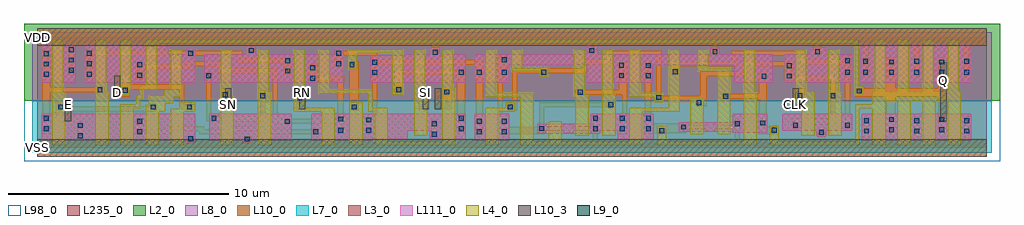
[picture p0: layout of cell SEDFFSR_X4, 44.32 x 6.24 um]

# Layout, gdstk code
import gdstk
lib = gdstk.Library(unit=1e-6, precision=1e-09)
def R(c, l, rs):  # rectangles x0, y0, x1, y1
    for r in rs: c.add(gdstk.rectangle(r[:2], r[2:], *l))
def A(c, l, x, y, w, h, nx, ny, dx, dy):  # array of equal rectangles
    R(c, l, [(x+i*dx, y+j*dy, x+i*dx+w, y+j*dy+h) for i in range(nx) for j in range(ny)])
def P(c, l, *ps):  # polygons
    for p in ps: c.add(gdstk.Polygon(p, *l))
L2_0 = (2, 0)
L3_0 = (3, 0)
L4_0 = (4, 0)
L7_0 = (7, 0)
L8_0 = (8, 0)
L9_0 = (9, 0)
L10_0 = (10, 0)
L10_3 = (10, 3)
L98_0 = (98, 0)
L111_0 = (111, 0)
L235_0 = (235, 0)

sedffsr_x4 = lib.new_cell('SEDFFSR_X4')
R(sedffsr_x4, L2_0, [(-0.6,2.155,43.72,5.64)])
R(sedffsr_x4, L3_0, [(9.33,0.2,9.75,0.62), (7.815,0.345,11.56,1.555), (19.865,0.345,21.425,1.555), (37.445,0.345,42.425,1.555), (11.14,0.995,11.56,1.415), (7.815,1.135,8.235,1.555), (7.815,1.135,8.235,1.555), (0.2,2.955,1.76,4.695), (7.58,2.955,13.9,4.265), (37.405,2.955,42.425,4.695), (7.58,3.075,8,3.495), (13.48,3.615,13.9,4.035), (6.76,4.085,7.18,4.505), (13.48,4.085,13.9,4.505), (9.505,4.215,9.925,4.635)])
P(sedffsr_x4, L3_0, [(7.18,4.265),(5.96,4.265),(5.96,4.635),(4.82,4.635),(4.82,4.695),(2.16,4.695),(2.16,2.955),(7.18,2.955)],
  [(23.8,4.265),(19.865,4.265),(19.865,2.955),(21.425,2.955),(21.425,3.765),(23.8,3.765)],
  [(19.465,1.555),(12.435,1.555),(12.435,0.345),(15.22,0.345),(15.22,0.405),(16.82,0.405),(16.82,0.775),(17.815,0.775),(17.815,0.405),(19.465,0.405)],
  [(28,1.555),(25.14,1.555),(25.14,0.995),(24.34,0.995),(24.34,1.095),(23.92,1.095),(23.92,0.995),(23.12,0.995),(23.12,1.095),(22.7,1.095),(22.7,0.675),(23.12,0.675),(23.12,0.775),(23.92,0.775),(23.92,0.675),(24.34,0.675),(24.34,0.775),(25.14,0.775),(25.14,0.65),(25.56,0.65),(25.56,0.775),(26.36,0.775),(26.36,0.405),(28,0.405)],
  [(33.155,1.555),(31.58,1.555),(31.58,1.065),(30.78,1.065),(30.78,1.165),(30.36,1.165),(30.36,1.065),(29.56,1.065),(29.56,1.165),(29.14,1.165),(29.14,0.745),(29.56,0.745),(29.56,0.845),(30.36,0.845),(30.36,0.745),(30.78,0.745),(30.78,0.845),(31.58,0.845),(31.58,0.695),(33.155,0.695)],
  [(7.18,1.555),(0.2,1.555),(0.2,0.345),(6.76,0.345),(6.76,0.2),(7.18,0.2)],
  [(19.465,4.265),(18.285,4.265),(18.285,4.565),(17.865,4.565),(17.865,4.265),(16.725,4.265),(16.725,4.205),(15.125,4.205),(15.125,2.955),(19.465,2.955)],
  [(37.005,4.265),(35.825,4.265),(35.825,4.585),(35.125,4.585),(35.125,4.265),(33.945,4.265),(33.945,2.955),(37.005,2.955)],
  [(33.405,4.265),(30.985,4.265),(30.985,4.585),(30.565,4.585),(30.565,4.265),(25.45,4.265),(25.45,4.635),(24.965,4.635),(24.965,4.265),(23.785,4.265),(23.785,3.765),(24.965,3.765),(24.965,2.955),(27.96,2.955),(27.96,3.765),(31.655,3.765),(31.655,2.955),(33.405,2.955)],
  [(37.005,1.555),(33.825,1.555),(33.825,0.775),(35.405,0.775),(35.405,0.51),(35.825,0.51),(35.825,0.775),(37.005,0.775)])
R(sedffsr_x4, L4_0, [(8.335,0.125,8.935,2.32), (14.18,0.125,14.78,2.075), (29.66,0.625,30.26,2.265), (10.025,2.155,10.445,2.575), (37.925,2.155,41.945,2.575), (8.335,2.195,8.835,4.485), (8.335,2.215,8.755,2.635), (37.115,2.375,37.535,2.795)])
P(sedffsr_x4, L4_0, [(4.28,4.915),(3.78,4.915),(3.78,2.42),(4.2,2.42),(4.2,2.655),(4.28,2.655)],
  [(6.56,4.485),(6.06,4.485),(6.06,2.655),(5.77,2.655),(5.77,2.405),(5.545,2.405),(5.545,2.025),(6.21,2.025),(6.21,2.325),(6.56,2.325)],
  [(4.81,2.655),(5.155,2.655),(5.155,2.855),(4.63,2.855),(4.63,2.405),(4.49,2.405),(4.49,1.995),(3.78,1.995),(3.78,0.125),(4.38,0.125),(4.38,1.815),(4.67,1.815),(4.67,2.225),(4.81,2.225)],
  [(15.21,2.64),(13.28,2.64),(13.28,4.485),(12.78,4.485),(12.78,2.46),(15.21,2.46)],
  [(37.33,0.305),(33.675,0.305),(33.675,1.01),(33.255,1.01),(33.255,0.125),(37.33,0.125)],
  [(38.525,4.915),(38.025,4.915),(38.025,2.575),(37.925,2.575),(37.925,0.125),(38.525,0.125)],
  [(26.26,2.52),(26.16,2.52),(26.16,4.485),(25.66,4.485),(25.66,0.555),(26.26,0.555)],
  [(39.665,2.575),(39.565,2.575),(39.565,4.915),(39.065,4.915),(39.065,0.125),(39.665,0.125)],
  [(40.805,2.575),(40.705,2.575),(40.705,4.915),(40.205,4.915),(40.205,0.125),(40.805,0.125)],
  [(5.81,2.405),(5.06,2.405),(5.06,1.975),(4.92,1.975),(4.92,0.125),(5.52,0.125),(5.52,1.655),(5.81,1.655)],
  [(1.28,2.52),(1.18,2.52),(1.18,4.915),(0.68,4.915),(0.68,0.125),(1.28,0.125)],
  [(35.305,2.575),(34.925,2.575),(34.925,4.485),(34.425,4.485),(34.425,2.155),(34.705,2.155),(34.705,0.555),(35.305,0.555)],
  [(36.525,2.52),(36.425,2.52),(36.425,4.485),(35.925,4.485),(35.925,0.555),(36.525,0.555)],
  [(31.48,3.655),(30.465,3.655),(30.465,4.485),(29.965,4.485),(29.965,3.475),(30.88,3.475),(30.88,0.625),(31.48,0.625)],
  [(29.18,4.485),(28.68,4.485),(28.68,1.835),(26.88,1.835),(26.88,0.305),(23.82,0.305),(23.82,1.215),(23.22,1.215),(23.22,0.305),(22.545,0.305),(22.545,2.505),(20.845,2.505),(20.845,4.485),(20.345,4.485),(20.345,2.325),(21.945,2.325),(21.945,0.125),(27.48,0.125),(27.48,1.655),(29.18,1.655)],
  [(28.43,2.505),(27.38,2.505),(27.38,4.485),(26.88,4.485),(26.88,2.325),(28.01,2.325),(28.01,2.085),(28.43,2.085)],
  [(32.675,2.52),(32.575,2.52),(32.575,4.485),(32.075,4.485),(32.075,0.305),(28.57,0.305),(28.57,1),(28.15,1),(28.15,0.125),(32.675,0.125)],
  [(25.04,2.41),(24.865,2.41),(24.865,4.485),(24.365,4.485),(24.365,2.32),(24.44,2.32),(24.44,0.555),(25.04,0.555)],
  [(23.215,3.665),(22.025,3.665),(22.025,4.485),(21.525,4.485),(21.525,3.485),(22.795,3.485),(22.795,3.235),(23.215,3.235)],
  [(21.695,2.075),(21.275,2.075),(21.275,1.835),(20.345,1.835),(20.345,0.125),(20.945,0.125),(20.945,1.655),(21.695,1.655)],
  [(18.985,2.715),(18.885,2.715),(18.885,4.485),(18.385,4.485),(18.385,0.305),(15.92,0.305),(15.92,1.775),(15.32,1.775),(15.32,0.125),(18.985,0.125)],
  [(16.625,4.485),(14.085,4.485),(14.085,3.57),(14.505,3.57),(14.505,4.305),(16.125,4.305),(16.125,2.41),(16.625,2.41)],
  [(13.515,1.835),(12.14,1.835),(12.14,4.485),(11.64,4.485),(11.64,1.655),(12.915,1.655),(12.915,0.125),(13.515,0.125)],
  [(17.715,2.71),(17.615,2.71),(17.615,4.485),(17.115,4.485),(17.115,0.555),(17.715,0.555)],
  [(7.185,2.075),(6.46,2.075),(6.46,1.775),(6.06,1.775),(6.06,0.125),(6.66,0.125),(6.66,1.655),(7.185,1.655)],
  [(10.625,2.52),(10.525,2.52),(10.525,4.485),(10.025,4.485),(10.025,0.125),(10.625,0.125)],
  [(37.295,4.915),(4.92,4.915),(4.92,2.655),(5.42,2.655),(5.42,4.735),(37.115,4.735),(37.115,2.375),(37.295,2.375)],
  [(3.24,2.52),(3.14,2.52),(3.14,4.915),(2.64,4.915),(2.64,0.125),(3.24,0.125)],
  [(41.945,2.575),(41.845,2.575),(41.845,4.915),(41.345,4.915),(41.345,0.125),(41.945,0.125)])
R(sedffsr_x4, L7_0, [(-0.22,-0.22,43.34,2.155)])
R(sedffsr_x4, L8_0, [(-0.22,2.155,43.34,5.26)])
A(sedffsr_x4, L9_0, 37.545, 0.66, 0.22, 0.22, 3, 2, 2.28, 0.47)
A(sedffsr_x4, L9_0, 0.3, 3.235, 0.22, 0.22, 1, 3, 0, 0.47)
A(sedffsr_x4, L9_0, 2.26, 3.245, 0.22, 0.22, 1, 3, 0, 0.47)
A(sedffsr_x4, L9_0, 38.685, 3.325, 0.22, 0.22, 4, 1, 1.14, 0)
A(sedffsr_x4, L9_0, 1.44, 3.415, 0.22, 0.22, 1, 3, 0, 0.47)
R(sedffsr_x4, L9_0, [(9.43,0.3,9.65,0.52), (6.86,0.31,7.08,0.53), (1.85,0.445,2.07,0.665), (17.915,0.52,18.135,0.74), (35.505,0.61,35.725,0.83), (4.54,0.635,4.76,0.855), (12.535,0.635,12.755,0.855), (19.965,0.635,20.185,0.855), (21.105,0.635,21.325,0.855), (28.25,0.68,28.47,0.9), (13.675,0.69,13.895,0.91), (14.94,0.69,15.16,0.91), (33.355,0.69,33.575,0.91), (38.685,0.715,38.905,0.935), (40.965,0.715,41.185,0.935), (0.3,0.765,0.52,0.985), (19.145,0.765,19.365,0.985), (25.24,0.765,25.46,0.985), (26.46,0.765,26.68,0.985), (27.645,0.765,27.865,0.985), (22.8,0.775,23.02,0.995), (29.24,0.845,29.46,1.065), (1.85,0.915,2.07,1.135), (34.325,0.925,34.545,1.145), (36.685,0.925,36.905,1.145), (31.68,0.985,31.9,1.205), (17.915,0.99,18.135,1.21), (32.835,1.025,33.055,1.245), (11.24,1.095,11.46,1.315), (4.54,1.105,4.76,1.325), (19.965,1.105,20.185,1.325), (21.105,1.105,21.325,1.325), (14.94,1.16,15.16,1.38), (38.685,1.185,38.905,1.405), (40.965,1.185,41.185,1.405), (13.675,1.205,13.895,1.425), (0.3,1.235,0.52,1.455), (7.915,1.235,8.135,1.455), (19.145,1.235,19.365,1.455), (25.24,1.235,25.46,1.455), (26.46,1.235,26.68,1.455), (27.645,1.235,27.865,1.455), (0.96,1.755,1.18,1.975), (5.16,1.755,5.38,1.975), (6.805,1.755,7.025,1.975), (14.28,1.755,14.5,1.975), (21.375,1.755,21.595,1.975), (25.94,1.86,26.16,2.08), (29.94,1.945,30.16,2.165), (11.82,2.17,12.04,2.39), (28.11,2.185,28.33,2.405), (31.16,2.245,31.38,2.465), (10.125,2.255,10.345,2.475), (17.395,2.255,17.615,2.475), (34.525,2.255,34.745,2.475), (36.025,2.255,36.245,2.475), (8.435,2.315,8.655,2.535), (24.545,2.42,24.765,2.64), (18.485,2.43,18.705,2.65), (37.215,2.475,37.435,2.695), (3.88,2.52,4.1,2.74), (2.74,2.535,2.96,2.755), (16.305,2.535,16.525,2.755), (12.4,3.055,12.62,3.275), (32.895,3.155,33.115,3.375), (34.045,3.16,34.265,3.38), (27.64,3.165,27.86,3.385), (7.68,3.175,7.9,3.395), (26.42,3.18,26.64,3.4), (4.54,3.2,4.76,3.42), (15.225,3.315,15.445,3.535), (19.145,3.325,19.365,3.545), (19.965,3.325,20.185,3.545), (21.105,3.325,21.325,3.545), (36.685,3.325,36.905,3.545), (37.505,3.325,37.725,3.545), (22.895,3.335,23.115,3.555), (28.86,3.345,29.08,3.565), (11.26,3.385,11.48,3.605), (12.4,3.535,12.62,3.755), (34.045,3.63,34.265,3.85), (27.64,3.635,27.86,3.855), (26.42,3.65,26.64,3.87), (4.54,3.67,4.76,3.89), (14.185,3.67,14.405,3.89), (13.58,3.715,13.8,3.935), (15.225,3.785,15.445,4.005), (38.685,3.795,38.905,4.015), (40.965,3.795,41.185,4.015), (37.505,3.835,37.725,4.055), (39.825,3.835,40.045,4.055), (42.105,3.835,42.325,4.055), (36.685,3.85,36.905,4.07), (11.26,3.855,11.48,4.075), (21.105,3.905,21.325,4.125), (6.86,4.185,7.08,4.405), (13.58,4.185,13.8,4.405), (17.965,4.245,18.185,4.465), (30.665,4.265,30.885,4.485), (35.325,4.265,35.545,4.485), (9.605,4.315,9.825,4.535), (25.075,4.315,25.295,4.535)])
R(sedffsr_x4, L10_0, [(9.425,0.295,9.655,0.525), (41.015,0.7,41.3,4.1), (38.525,0.71,38.995,4.12), (11.235,1.09,11.465,1.32), (0.84,1.21,1.54,2.15), (7.675,1.225,10.35,1.455), (7.855,1.23,8.195,1.46), (14.18,1.695,14.595,3.95), (8.375,1.77,8.82,2.71), (11.735,1.77,12.18,2.71), (17.315,1.77,17.78,2.71), (18.06,1.77,18.805,2.71), (34.3,1.77,34.835,2.71), (10.12,2.25,10.35,2.48), (8.375,2.31,8.715,2.54), (3.5,2.33,4.2,3.27), (37.155,2.33,41.245,2.71), (18.425,2.37,18.73,2.71), (37.155,2.47,37.495,2.7), (7.675,3.115,7.905,3.455), (2.2,3.165,2.56,4.41), (1.435,3.315,1.665,5.04), (13.48,3.71,13.9,4.41), (13.575,3.71,13.805,3.94), (6.8,4.18,7.14,4.41), (13.575,4.18,13.805,4.41), (9.6,4.31,9.83,4.54)])
P(sedffsr_x4, L10_0, [(26.26,2.085),(22.795,2.085),(22.795,0.965),(21.385,0.965),(21.385,1.4),(21.14,1.4),(21.14,3.225),(21.33,3.225),(21.33,4.265),(20.91,4.265),(20.91,0.63),(23.025,0.63),(23.025,1.855),(26.26,1.855)],
  [(7.15,1.98),(6.675,1.98),(6.675,2.885),(4.2,2.885),(4.2,3.065),(3.78,3.065),(3.78,2.655),(6.445,2.655),(6.445,1.75),(7.15,1.75)],
  [(13.915,3.265),(12.715,3.265),(12.715,3.83),(12.34,3.83),(12.34,3.035),(13.615,3.035),(13.615,1.32),(10.925,1.32),(10.925,3.62),(8.435,3.62),(8.435,3.95),(6.705,3.95),(6.705,3.81),(4.85,3.81),(4.85,3.95),(4.48,3.95),(4.48,3.115),(4.85,3.115),(4.85,3.58),(6.935,3.58),(6.935,3.72),(8.205,3.72),(8.205,3.39),(10.695,3.39),(10.695,1.09),(13.615,1.09),(13.615,0.63),(13.915,0.63)],
  [(11.54,4.08),(9.315,4.08),(9.315,4.41),(2.2,4.41),(2.2,4.18),(9.085,4.18),(9.085,3.85),(11.19,3.85),(11.19,3.335),(11.54,3.335)],
  [(36.91,4.215),(36.68,4.215),(36.68,4.03),(34.865,4.03),(34.865,4.41),(31.54,4.41),(31.54,3.95),(28.78,3.95),(28.78,3.34),(29.15,3.34),(29.15,3.72),(31.77,3.72),(31.77,4.18),(34.635,4.18),(34.635,3.8),(36.68,3.8),(36.68,0.865),(36.91,0.865)],
  [(20.245,4.01),(15.45,4.01),(15.45,4.41),(13.48,4.41),(13.48,4.18),(15.22,4.18),(15.22,1.4),(14.835,1.4),(14.835,0.63),(15.45,0.63),(15.45,3.78),(19.905,3.78),(19.905,0.63),(20.245,0.63)],
  [(36.25,3.31),(34.325,3.31),(34.325,3.95),(32,3.95),(32,3.49),(30.115,3.49),(30.115,2.375),(28.335,2.375),(28.335,4.41),(25.82,4.41),(25.82,4.025),(24.76,4.025),(24.76,3.615),(21.56,3.615),(21.56,2.035),(21.37,2.035),(21.37,1.695),(21.79,1.695),(21.79,3.385),(22.89,3.385),(22.89,3.275),(23.12,3.275),(23.12,3.385),(24.99,3.385),(24.99,3.795),(26.05,3.795),(26.05,4.18),(28.105,4.18),(28.105,2.125),(29.935,2.125),(29.935,1.885),(30.405,1.885),(30.405,3.26),(32.23,3.26),(32.23,3.72),(33.925,3.72),(33.925,3.08),(36.02,3.08),(36.02,1.34),(34.32,1.34),(34.32,0.865),(34.55,0.865),(34.55,1.07),(36.25,1.07)],
  [(3.045,2.76),(0.6,2.76),(0.6,4.41),(0.23,4.41),(0.23,0.65),(0.6,0.65),(0.6,2.53),(3.045,2.53)],
  [(26.79,3.95),(26.415,3.95),(26.415,2.645),(24.435,2.645),(24.435,2.415),(26.56,2.415),(26.56,1.555),(26.455,1.555),(26.455,0.63),(26.79,0.63)],
  [(29.465,1.125),(27.875,1.125),(27.875,3.95),(27.595,3.95),(27.595,0.675),(29.465,0.675)],
  [(33.58,0.97),(33.12,0.97),(33.12,3.445),(32.76,3.445),(32.76,2.47),(31.1,2.47),(31.1,2.24),(32.76,2.24),(32.76,0.63),(33.58,0.63)],
  [(19.445,3.55),(16.22,3.55),(16.22,2.52),(16.625,2.52),(16.625,3.32),(19.045,3.32),(19.045,0.7),(19.445,0.7)],
  [(12.815,0.86),(10.26,0.86),(10.26,0.985),(8.905,0.985),(8.905,0.755),(10.03,0.755),(10.03,0.63),(12.815,0.63)],
  [(43.12,5.44),(0,5.44),(0,4.64),(9.545,4.64),(9.545,4.31),(9.885,4.31),(9.885,4.64),(17.905,4.64),(17.905,4.24),(18.245,4.24),(18.245,4.64),(25.07,4.64),(25.07,4.255),(25.3,4.255),(25.3,4.64),(30.66,4.64),(30.66,4.205),(30.89,4.205),(30.89,4.64),(35.265,4.64),(35.265,4.26),(35.605,4.26),(35.605,4.64),(37.5,4.64),(37.5,3.225),(37.73,3.225),(37.73,4.64),(43.12,4.64)],
  [(43.12,0.4),(37.77,0.4),(37.77,1.455),(37.54,1.455),(37.54,0.4),(35.785,0.4),(35.785,0.835),(35.445,0.835),(35.445,0.4),(31.905,0.4),(31.905,1.32),(31.675,1.32),(31.675,0.4),(25.465,0.4),(25.465,1.555),(25.235,1.555),(25.235,0.4),(18.14,0.4),(18.14,1.285),(17.91,1.285),(17.91,0.4),(7.14,0.4),(7.14,0.535),(6.8,0.535),(6.8,0.4),(2.075,0.4),(2.075,1.245),(1.845,1.245),(1.845,0.4),(0,0.4),(0,-0.4),(43.12,-0.4)],
  [(7.595,0.995),(5.91,0.995),(5.91,0.86),(4.835,0.86),(4.835,1.33),(4.48,1.33),(4.48,0.63),(6.14,0.63),(6.14,0.765),(7.595,0.765)],
  [(5.395,2.035),(5.13,2.035),(5.13,1.895),(0.84,1.895),(0.84,1.655),(5.395,1.655)])
R(sedffsr_x4, L10_3, [(0,-0.4,43.12,0.4), (1.26,1.21,1.54,2.15), (41.015,1.215,41.3,3.885), (8.54,1.77,8.82,2.71), (11.9,1.77,12.18,2.71), (17.5,1.77,17.78,2.71), (18.06,1.77,18.34,2.71), (34.3,1.77,34.58,2.71), (3.5,2.33,3.78,3.27), (0,4.64,43.12,5.44)])
R(sedffsr_x4, L98_0, [(-0.6,-0.6,43.72,5.64)])
R(sedffsr_x4, L111_0, [(6.76,0.2,7.18,0.345), (9.33,0.2,9.75,0.62), (0.2,0.345,7.18,1.555), (7.815,0.345,11.56,1.555), (19.865,0.345,21.425,1.555), (37.445,0.345,42.425,1.555), (35.405,0.51,35.825,0.775), (33.825,0.775,37.005,1.555), (7.815,1.135,8.235,1.555), (0.2,2.955,1.76,4.695), (33.945,2.955,37.005,4.265), (37.405,2.955,42.425,4.695), (6.76,4.085,7.18,4.505), (24.965,4.265,25.45,4.635), (30.565,4.265,30.985,4.585), (35.125,4.265,35.825,4.585)])
P(sedffsr_x4, L111_0, [(23.8,4.265),(19.865,4.265),(19.865,2.955),(21.425,2.955),(21.425,3.765),(23.8,3.765)],
  [(33.405,4.265),(23.785,4.265),(23.785,3.765),(24.965,3.765),(24.965,2.955),(27.96,2.955),(27.96,3.765),(31.655,3.765),(31.655,2.955),(33.405,2.955)],
  [(19.465,1.555),(12.435,1.555),(12.435,0.345),(15.22,0.345),(15.22,0.405),(16.82,0.405),(16.82,0.775),(17.815,0.775),(17.815,0.405),(19.465,0.405)],
  [(28,1.555),(25.14,1.555),(25.14,1.095),(22.7,1.095),(22.7,0.65),(25.56,0.65),(25.56,0.775),(26.36,0.775),(26.36,0.405),(28,0.405)],
  [(19.465,4.265),(18.285,4.265),(18.285,4.565),(17.865,4.565),(17.865,4.265),(16.725,4.265),(16.725,4.205),(15.125,4.205),(15.125,2.955),(19.465,2.955)],
  [(13.9,4.505),(13.48,4.505),(13.48,4.265),(9.925,4.265),(9.925,4.635),(9.505,4.635),(9.505,4.265),(7.58,4.265),(7.58,2.955),(13.9,2.955)],
  [(33.155,1.555),(31.58,1.555),(31.58,1.165),(29.14,1.165),(29.14,0.745),(31.58,0.745),(31.58,0.695),(33.155,0.695)],
  [(7.18,4.265),(5.96,4.265),(5.96,4.635),(4.82,4.635),(4.82,4.695),(2.16,4.695),(2.16,2.955),(7.18,2.955)])
R(sedffsr_x4, L235_0, [(0,0,43.12,5.04)])
sedffsr_x4.add(gdstk.FlexPath([(15.12,1.745),(15.92,1.745)], 0.18, ends=(0.09, 0), simple_path=True, layer=4, datatype=0))  # L4_0
sedffsr_x4.add(gdstk.FlexPath([(37.24,1.895),(37.24,0.125)], 0.18, ends=(0.09, 0), simple_path=True, layer=4, datatype=0))  # L4_0
sedffsr_x4.add(gdstk.FlexPath([(38.36,1.895),(37.24,1.895)], 0.18, ends=(0, 0.09), simple_path=True, layer=4, datatype=0))  # L4_0
sedffsr_x4.add(gdstk.FlexPath([(15.12,2.64),(15.12,1.745)], 0.18, ends=(0, 0.09), simple_path=True, layer=4, datatype=0))  # L4_0
sedffsr_x4.add(gdstk.FlexPath([(41.075,4.1),(41.075,0.7)], 0.34, ends="flush", simple_path=True, layer=10, datatype=0))  # L10_0
sedffsr_x4.add(gdstk.FlexPath([(42.215,0),(42.215,1.445)], 0.23, ends="flush", simple_path=True, layer=10, datatype=0))  # L10_0
sedffsr_x4.add(gdstk.FlexPath([(42.215,3.23),(42.215,5.04)], 0.23, ends="flush", simple_path=True, layer=10, datatype=0))  # L10_0
sedffsr_x4.add(gdstk.FlexPath([(39.935,-0.06),(39.935,1.445)], 0.23, ends="flush", simple_path=True, layer=10, datatype=0))  # L10_0
sedffsr_x4.add(gdstk.FlexPath([(39.935,3.23),(39.935,5.04)], 0.23, ends="flush", simple_path=True, layer=10, datatype=0))  # L10_0
sedffsr_x4.add(gdstk.FlexPath([(7.79,1.225),(7.79,3.455)], 0.23, ends="flush", simple_path=True, layer=10, datatype=0))  # L10_0
sedffsr_x4.add(gdstk.FlexPath([(10.235,2.49),(10.235,1.34)], 0.23, ends="extended", simple_path=True, layer=10, datatype=0))  # L10_0
sedffsr_x4.add(gdstk.FlexPath([(7.48,0.745),(8.905,0.745)], 0.23, ends="extended", simple_path=True, layer=10, datatype=0))  # L10_0
sedffsr_x4.add(gdstk.FlexPath([(8.905,0.745),(8.905,0.985)], 0.23, ends=(0.115, 0), simple_path=True, layer=10, datatype=0))  # L10_0
sedffsr_x4.add(gdstk.FlexPath([(7.48,0.995),(7.48,0.745)], 0.23, ends=(0, 0.115), simple_path=True, layer=10, datatype=0))  # L10_0
sedffsr_x4.add(gdstk.FlexPath([(9.54,0),(9.54,0.525)], 0.34, ends="flush", simple_path=True, layer=10, datatype=0))  # L10_0
sedffsr_x4.add(gdstk.Label('Q', (41.16,3.08), layer=10, texttype=3))
sedffsr_x4.add(gdstk.Label('D', (3.64,2.52), layer=10, texttype=3))
sedffsr_x4.add(gdstk.Label('RN', (12.04,2.52), layer=10, texttype=3))
sedffsr_x4.add(gdstk.Label('CLK', (34.44,1.96), layer=10, texttype=3))
sedffsr_x4.add(gdstk.Label('E', (1.4,1.96), layer=10, texttype=3))
sedffsr_x4.add(gdstk.Label('SI', (17.64,2.52), layer=10, texttype=3))
sedffsr_x4.add(gdstk.Label('SE', (18.2,2.52), layer=10, texttype=3))
sedffsr_x4.add(gdstk.Label('SN', (8.68,1.96), layer=10, texttype=3))
sedffsr_x4.add(gdstk.Label('VSS', (0,0), layer=10, texttype=3))
sedffsr_x4.add(gdstk.Label('VDD', (0,5.04), layer=10, texttype=3))
sedffsr_x4.add(gdstk.Label('& Vendor Primarius technologies Co.,Ltd.', (0,0), layer=58, texttype=0))
sedffsr_x4.add(gdstk.Label('& Product prima_sc180bcd_5v_9t', (0,0), layer=58, texttype=0))
sedffsr_x4.add(gdstk.Label('& Version 2023Q3', (0,0), layer=58, texttype=0))

lib.write_gds('SEDFFSR_X4.gds')
